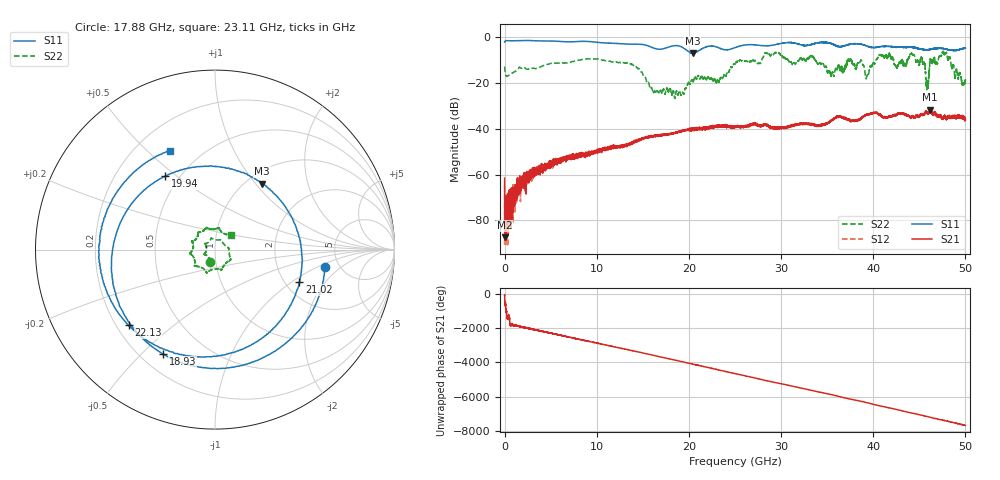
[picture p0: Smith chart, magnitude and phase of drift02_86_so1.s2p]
!Created with skrf (http://scikit-rf.org).
# Hz S RI R 50.0
!freq ReS11 ImS11 ReS21 ImS21 ReS12 ImS12 ReS22 ImS22
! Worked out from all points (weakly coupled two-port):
!   10001 points, 300 kHz to 50 GHz, reference 50 ohm
!   highest |S21| = -31.64 dB at 46.19 GHz (marker M1); lowest = -87.4 dB at 20.3 MHz (marker M2)
!   lowest |S11| = -6.9 dB at 20.44 GHz (marker M3), VSWR 2.65, Z = 58.5 + j54.1 ohm
!   |S11| at or under -10 dB: nowhere
!   |S22| runs from -26.7 to -6.1 dB; largest |S21 - S12| = 0.0032
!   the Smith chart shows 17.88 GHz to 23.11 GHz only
!   S11 on the Smith chart (normalised r, x): 17.88 GHz: 3.85, -1.24; 18.93 GHz: 0.29, -0.58; 19.94 GHz: 0.42, +0.45; 21.02 GHz: 2.38, -1.15; 22.13 GHz: 0.25, -0.36; 23.11 GHz: 0.34, +0.59
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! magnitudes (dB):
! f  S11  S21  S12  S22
! 300 kHz  -2.1  -61.5  -64.9  -12.7
! 20.3 MHz  -1.9  -87.4  -80.4  -13.7
! 255.3 MHz  -1.4  -74.8  -81.6  -17.0
! 3.01 GHz  -1.4  -60.4  -59.5  -13.5
! 8.335 GHz  -1.7  -50.7  -51.2  -9.7
! 13.7 GHz  -2.9  -46.7  -46.5  -11.7
! 16.67 GHz  -5.2  -42.6  -42.9  -23.8
! 17.88 GHz  -4.1  -42.2  -42.1  -22.5
! 18.93 GHz  -3.7  -41.1  -41.4  -23.4
! 19.94 GHz  -6.1  -40.1  -40.4  -19.8
! 20.44 GHz  -6.9  -40.6  -39.9  -19.2
! 21.02 GHz  -6.0  -40.0  -40.4  -16.8
! 22.13 GHz  -3.9  -39.0  -39.2  -17.7
! 23.11 GHz  -4.3  -38.7  -38.9  -18.5
! 25 GHz  -4.5  -39.1  -38.8  -11.6
! 33.34 GHz  -3.0  -38.1  -37.8  -8.3
! 39.33 GHz  -3.8  -33.7  -33.7  -16.6
! 41.67 GHz  -3.9  -34.6  -34.8  -7.7
! 45.87 GHz  -5.4  -33.1  -33.3  -21.1
! 46.19 GHz  -5.3  -31.6  -31.7  -9.4
! 47.74 GHz  -5.0  -34.5  -34.7  -7.2
! 50 GHz  -4.6  -36.1  -35.5  -18.6
